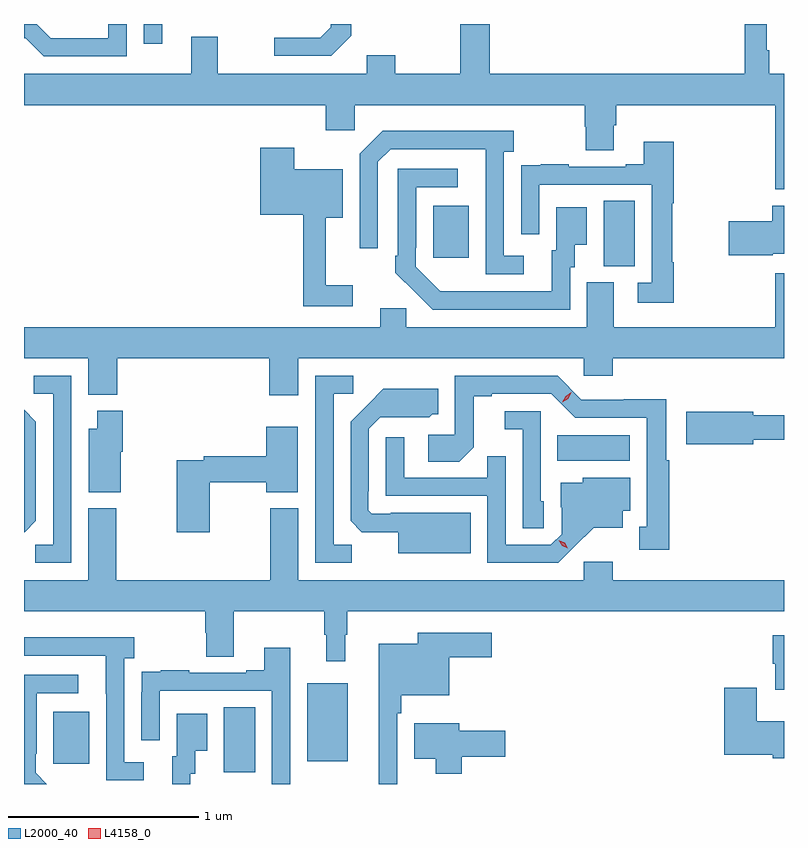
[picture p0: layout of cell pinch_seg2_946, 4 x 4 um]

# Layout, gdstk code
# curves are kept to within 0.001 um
import gdstk
lib = gdstk.Library(unit=1e-6, precision=1e-09)
def R(c, l, rs):  # rectangles x0, y0, x1, y1
    for r in rs: c.add(gdstk.rectangle(r[:2], r[2:], *l))
def P(c, l, *ps):  # polygons
    for p in ps: c.add(gdstk.Polygon(p, *l))
L2000_40 = (2000, 40)
L4158_0 = (4158, 0)

pinch_seg2_946 = lib.new_cell('pinch_seg2_946')
R(pinch_seg2_946, L2000_40, [(322.76,638.797,322.924,639.14), (321.863,638.841,322.051,639.115), (323.198,638.855,323.413,639.265), (324.514,640.436,324.895,640.57), (324.758,641.461,324.922,641.804), (323.861,641.505,324.049,641.779), (322.339,642.63,322.435,642.735)])
P(pinch_seg2_946, L2000_40, [(325.708,642.472),(325.63,642.472),(325.63,642.596),(325.618,642.596),(325.618,642.735),(325.501,642.735),(325.501,642.472),(324.158,642.472),(324.158,642.735),(324.005,642.735),(324.005,642.472),(323.661,642.472),(323.661,642.571),(323.513,642.571),(323.513,642.472),(322.729,642.472),(322.729,642.667),(322.589,642.667),(322.589,642.472),(321.708,642.472),(321.708,642.308),(323.297,642.308),(323.297,642.177),(323.448,642.177),(323.448,642.308),(324.659,642.308),(324.659,642.195),(324.664,642.195),(324.664,642.07),(324.811,642.07),(324.811,642.202),(324.824,642.202),(324.824,642.308),(325.662,642.308),(325.662,641.864),(325.708,641.864)],
  [(323.431,642.673),(323.431,642.735),(323.322,642.735),(323.322,642.717),(323.268,642.663),(323.025,642.663),(323.025,642.567),(323.325,642.567)],
  [(322.248,642.735),(322.152,642.735),(322.152,642.66),(321.849,642.66),(321.774,642.735),(321.708,642.735),(321.708,642.66),(321.717,642.66),(321.813,642.564),(322.248,642.564)],
  [(324.337,641.514),(324.234,641.514),(324.234,642.062),(324.286,642.062),(324.286,642.172),(323.596,642.172),(323.475,642.051),(323.475,641.556),(323.571,641.556),(323.571,642.009),(323.637,642.075),(324.137,642.075),(324.138,641.418),(324.337,641.418)],
  [(325.127,641.48),(325.12,641.48),(325.12,641.792),(325.127,641.792),(325.127,642.115),(324.971,642.115),(324.971,641.998),(324.875,641.998),(324.875,641.985),(324.575,641.985),(324.575,641.998),(324.427,641.998),(324.427,641.991),(324.325,641.991),(324.325,641.882),(324.324,641.882),(324.324,641.628),(324.42,641.628),(324.42,641.889),(325.011,641.889),(325.011,641.373),(324.939,641.373),(324.939,641.268),(325.127,641.268)],
  [(323.437,641.359),(323.297,641.359),(323.297,641.714),(323.386,641.714),(323.386,641.971),(323.13,641.971),(323.13,642.085),(322.952,642.085),(322.952,641.732),(323.179,641.732),(323.179,641.25),(323.437,641.25)],
  [(324.582,641.454),(324.607,641.454),(324.607,641.573),(324.67,641.573),(324.67,641.77),(324.509,641.77),(324.509,641.544),(324.485,641.544),(324.485,641.328),(323.898,641.329),(323.769,641.457),(323.769,641.557),(323.772,641.557),(323.772,641.877),(323.992,641.877),(323.992,641.973),(323.676,641.973),(323.676,641.515),(323.661,641.515),(323.661,641.427),(323.858,641.232),(324.582,641.232)],
  [(325.65,641.525),(325.708,641.525),(325.708,641.779),(325.646,641.779),(325.646,641.696),(325.416,641.696),(325.416,641.518),(325.65,641.518)],
  [(323.152,640.976),(324.654,640.976),(324.654,640.883),(324.806,640.883),(324.806,640.976),(325.708,640.976),(325.708,641.422),(325.662,641.422),(325.662,641.14),(324.811,641.14),(324.811,641.376),(324.671,641.376),(324.671,641.14),(323.721,641.14),(323.721,641.238),(323.582,641.238),(323.582,641.14),(321.708,641.14),(321.708,640.976),(322.046,640.976),(322.046,640.784),(322.199,640.784),(322.199,640.976),(323,640.976),(323,640.782),(323.152,640.782)],
  [(323.433,639.995),(323.337,639.995),(323.337,640.788),(323.44,640.788),(323.44,640.884),(323.241,640.884),(323.241,639.9),(323.433,639.9)],
  [(321.957,640.884),(321.759,640.884),(321.759,640.788),(321.861,640.788),(321.861,639.995),(321.766,639.995),(321.766,639.9),(321.957,639.9)],
  [(325.105,640.439),(325.087,640.439),(325.087,640.76),(324.864,640.76),(324.864,640.758),(324.642,640.758),(324.516,640.884),(323.976,640.884),(323.976,640.572),(323.835,640.572),(323.835,640.432),(323.999,640.432),(324.075,640.508),(324.075,640.776),(324.169,640.776),(324.169,640.788),(324.483,640.788),(324.609,640.662),(324.986,640.662),(324.986,640.089),(324.947,640.089),(324.947,639.969),(325.105,639.969)],
  [(324.058,640.162),(323.638,640.162),(323.638,640.158),(323.538,640.158),(323.52,640.176),(323.52,640.276),(323.523,640.276),(323.523,640.605),(323.583,640.665),(323.84,640.664),(323.856,640.68),(323.887,640.68),(323.887,640.816),(323.599,640.816),(323.427,640.642),(323.427,640.12),(323.486,640.061),(323.678,640.061),(323.678,639.95),(324.058,639.95)],
  [(321.771,640.12),(321.771,640.642),(321.708,640.705),(321.708,640.061),(321.712,640.061)],
  [(322.216,640.485),(322.229,640.485),(322.229,640.699),(322.094,640.699),(322.094,640.606),(322.049,640.606),(322.049,640.271),(322.216,640.271)],
  [(324.444,640.224),(324.429,640.224),(324.429,640.698),(324.237,640.698),(324.237,640.601),(324.333,640.601),(324.333,640.081),(324.444,640.081)],
  [(325.546,640.546),(325.708,640.546),(325.708,640.675),(325.546,640.675),(325.546,640.693),(325.194,640.693),(325.194,640.523),(325.546,640.523)],
  [(322.686,640.324),(322.982,640.324),(322.982,640.271),(323.149,640.271),(323.149,640.615),(322.982,640.615),(322.982,640.46),(322.654,640.46),(322.654,640.44),(322.513,640.44),(322.513,640.059),(322.686,640.059)],
  [(324.604,639.983),(324.707,640.085),(324.859,640.085),(324.859,640.172),(324.898,640.172),(324.898,640.348),(324.648,640.348),(324.648,640.321),(324.533,640.321),(324.533,640.192),(324.537,640.192),(324.537,640.05),(324.48,639.993),(324.243,639.993),(324.243,640.46),(324.145,640.46),(324.145,640.347),(323.709,640.347),(323.709,640.561),(323.613,640.561),(323.613,640.251),(324.147,640.251),(324.147,639.9),(324.52,639.9)],
  [(323.398,639.521),(323.41,639.521),(323.41,639.644),(325.708,639.644),(325.708,639.808),(324.806,639.808),(324.806,639.904),(324.654,639.904),(324.654,639.808),(323.152,639.808),(323.152,640.186),(323.005,640.186),(323.005,639.808),(322.194,639.808),(322.194,640.186),(322.046,640.186),(322.046,639.808),(321.708,639.808),(321.708,639.644),(322.661,639.644),(322.661,639.531),(322.666,639.531),(322.666,639.406),(322.813,639.406),(322.813,639.644),(323.289,639.644),(323.289,639.521),(323.3,639.521),(323.3,639.381),(323.398,639.381)],
  [(323.673,639.107),(323.693,639.107),(323.693,639.203),(323.947,639.203),(323.947,639.403),(324.169,639.403),(324.169,639.532),(323.78,639.532),(323.78,639.472),(323.576,639.472),(323.576,638.735),(323.673,638.735)],
  [(325.708,639.517),(325.649,639.517),(325.649,639.369),(325.661,639.369),(325.661,639.23),(325.708,639.23)],
  [(322.339,638.85),(322.236,638.85),(322.236,639.398),(322.288,639.398),(322.288,639.508),(321.708,639.508),(321.708,639.411),(322.139,639.411),(322.139,639.211),(322.14,639.211),(322.14,638.754),(322.339,638.754)],
  [(323.109,639.451),(322.973,639.451),(322.973,639.334),(322.877,639.334),(322.877,639.321),(322.577,639.321),(322.577,639.334),(322.429,639.334),(322.429,639.327),(322.327,639.327),(322.327,639.218),(322.326,639.218),(322.326,638.964),(322.422,638.964),(322.422,639.225),(323.013,639.225),(323.013,638.735),(323.109,638.735)],
  [(321.771,638.793),(321.771,638.893),(321.774,638.893),(321.774,639.213),(321.994,639.213),(321.994,639.309),(321.708,639.309),(321.708,638.735),(321.829,638.735)],
  [(325.708,639.064),(325.564,639.064),(325.564,639.241),(325.394,639.241),(325.394,638.888),(325.65,638.888),(325.65,638.87),(325.708,638.87)],
  [(322.584,638.79),(322.609,638.79),(322.609,638.909),(322.672,638.909),(322.672,639.106),(322.511,639.106),(322.511,638.88),(322.487,638.88),(322.487,638.735),(322.584,638.735)],
  [(324.011,638.878),(324.241,638.878),(324.241,639.015),(323.998,639.015),(323.998,639.055),(323.762,639.055),(323.762,638.867),(323.876,638.867),(323.876,638.789),(324.011,638.789)])
P(pinch_seg2_946, L4158_0, [(324.541,640.744),(324.541,640.744),(324.558,640.777),(324.589,640.796),(324.589,640.796),(324.589,640.796),(324.572,640.763),(324.541,640.744)],
  [(324.571,639.975),(324.54,639.989),(324.522,640.018),(324.522,640.018),(324.522,640.018),(324.553,640.004),(324.571,639.975),(324.571,639.975)])

lib.write_gds('pinch_seg2_946.gds')
